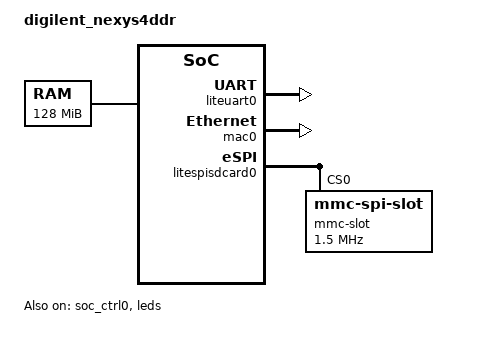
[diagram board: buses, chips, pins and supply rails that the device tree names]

/dts-v1/;

/ {
        compatible = "litex,digilent_nexys4ddr", "litex,soc";
        model = "digilent_nexys4ddr";
        #address-cells = <1>;
        #size-cells    = <1>;


        chosen {
            bootargs = "console=liteuart earlycon=liteuart,0xf0001000 rootwait root=/dev/ram0";
            linux,initrd-start = <0x41000000>;
            linux,initrd-end   = <0x42000000>;
        };

        sys_clk: clock-75000000 {
            compatible = "fixed-clock";
            #clock-cells = <0>;
            clock-frequency  = <75000000>;
        };

        cpus {
            #address-cells = <1>;
            #size-cells    = <0>;
            timebase-frequency = <75000000>;

            CPU0: cpu@0 {
                device_type = "cpu";
                compatible = "riscv";
                riscv,isa = "rv32i2p0_ma";
                riscv,isa-base = "rv32i";
                riscv,isa-extensions = "a", "i", "m";
                mmu-type = "riscv,sv32";
                reg = <0>;
                clock-frequency = <75000000>;
                status = "okay";
                
                d-cache-size = <4096>;
                d-cache-sets = <64>;
                d-cache-block-size = <64>;

                i-cache-size = <4096>;
                i-cache-sets = <64>;
                i-cache-block-size = <64>;

                
                tlb-split;
                d-tlb-size = <4>;
                d-tlb-sets = <4>;

                i-tlb-size = <4>;
                i-tlb-sets = <4>;

                
                L0: interrupt-controller {
                    #address-cells = <0>;
                    #interrupt-cells = <0x00000001>;
                    interrupt-controller;
                    compatible = "riscv,cpu-intc";
                };
            };

            
            
        };

        memory: memory@40000000 {
            device_type = "memory";
            reg = <0x40000000 0x8000000>;
        };

        reserved-memory {
            #address-cells = <1>;
            #size-cells    = <1>;
            ranges;

            opensbi@40f00000 {
                reg = <0x40f00000 0x80000>;
            };

        };

        soc {
            #address-cells = <1>;
            #size-cells    = <1>;
            compatible = "simple-bus";
            interrupt-parent = <&intc0>;
            ranges;

            soc_ctrl0: soc_controller@f0000000 {
                compatible = "litex,soc-controller";
                reg = <0xf0000000 0xc>;
                status = "okay";
            };

            lintc0: clint@f0010000 {
                compatible = "riscv,clint0";
                interrupts-extended = <
                    &L0 3 &L0 7>;
                reg = <0xf0010000 0x10000>;
                reg-names = "control";
            };

            intc0: interrupt-controller@f0c00000 {
                compatible = "sifive,fu540-c000-plic", "sifive,plic-1.0.0";
                reg = <0xf0c00000 0x400000>;
                #address-cells = <0>;
                #interrupt-cells = <1>;
                interrupt-controller;
                interrupts-extended = <
                    &L0 11 &L0 9>;
                riscv,ndev = <32>;
                
            };

            liteuart0: serial@f0001000 {
                compatible = "litex,liteuart";
                reg = <0xf0001000 0x100>;
                interrupts = <1>;
                status = "okay";
            };

            mac0: mac@f0002000 {
                compatible = "litex,liteeth";
                reg = <0xf0002000 0x7c>,
                      <0xf0002800 0x0a>,
                      <0x80000000 0x2000>;
                reg-names = "mac", "mdio", "buffer";
                litex,rx-slots = <2>;
                litex,tx-slots = <2>;
                litex,slot-size = <2048>;
                interrupts = <3>;
                status = "okay";
            };

            litespisdcard0: spi@f0004800 {
                compatible = "litex,litespi";
                reg = <0xf0004800 0x100>;
                status = "okay";

                litespi,max-bpw = <8>;
                litespi,sck-frequency = <1500000>;
                litespi,num-cs = <1>;

                #address-cells = <1>;
                #size-cells    = <0>;

                mmc-slot@0 {
                    compatible = "mmc-spi-slot";
                    reg = <0>;
                    voltage-ranges = <3300 3300>;
                    spi-max-frequency = <1500000>;
                    status = "okay";
                    };
            };

            leds: gpio@f0003800 {
                compatible = "litex,gpio";
                reg = <0xf0003800 0x4>;
                gpio-controller;
                #gpio-cells = <2>;
                litex,direction = "out";
                status = "disabled";
            };

        };

        aliases {

                serial0 = &liteuart0;

                sdcard0 = &litespisdcard0;

        };

};

&leds {
        litex,ngpio = <16>;
        status = "okay";
};

